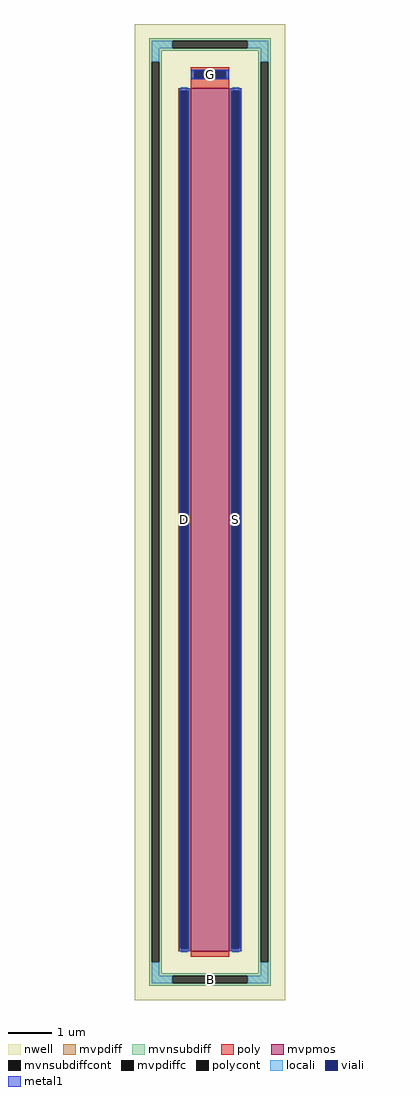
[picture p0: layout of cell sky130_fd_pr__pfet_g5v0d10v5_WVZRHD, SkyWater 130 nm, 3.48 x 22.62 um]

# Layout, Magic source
magic
tech sky130A
magscale 1 2
<< nwell >>
rect -348 -2262 348 2262
<< mvpmos >>
rect -90 -2036 90 1964
<< mvpdiff >>
rect -148 1952 -90 1964
rect -148 -2024 -136 1952
rect -102 -2024 -90 1952
rect -148 -2036 -90 -2024
rect 90 1952 148 1964
rect 90 -2024 102 1952
rect 136 -2024 148 1952
rect 90 -2036 148 -2024
<< mvpdiffc >>
rect -136 -2024 -102 1952
rect 102 -2024 136 1952
<< mvnsubdiff >>
rect -282 2184 282 2196
rect -282 2150 -174 2184
rect 174 2150 282 2184
rect -282 2138 282 2150
rect -282 2088 -224 2138
rect -282 -2088 -270 2088
rect -236 -2088 -224 2088
rect 224 2088 282 2138
rect -282 -2138 -224 -2088
rect 224 -2088 236 2088
rect 270 -2088 282 2088
rect 224 -2138 282 -2088
rect -282 -2150 282 -2138
rect -282 -2184 -174 -2150
rect 174 -2184 282 -2150
rect -282 -2196 282 -2184
<< mvnsubdiffcont >>
rect -174 2150 174 2184
rect -270 -2088 -236 2088
rect 236 -2088 270 2088
rect -174 -2184 174 -2150
<< poly >>
rect -90 2045 90 2061
rect -90 2011 -74 2045
rect 74 2011 90 2045
rect -90 1964 90 2011
rect -90 -2062 90 -2036
<< polycont >>
rect -74 2011 74 2045
<< locali >>
rect -270 2150 -174 2184
rect 174 2150 270 2184
rect -270 2088 -236 2150
rect 236 2088 270 2150
rect -90 2011 -74 2045
rect 74 2011 90 2045
rect -136 1952 -102 1968
rect -136 -2040 -102 -2024
rect 102 1952 136 1968
rect 102 -2040 136 -2024
rect -270 -2150 -236 -2088
rect 236 -2150 270 -2088
rect -270 -2184 -174 -2150
rect 174 -2184 270 -2150
<< viali >>
rect -74 2011 74 2045
rect -136 -2024 -102 1952
rect 102 -2024 136 1952
<< metal1 >>
rect -86 2045 86 2051
rect -86 2011 -74 2045
rect 74 2011 86 2045
rect -86 2005 86 2011
rect -142 1952 -96 1964
rect -142 -2024 -136 1952
rect -102 -2024 -96 1952
rect -142 -2036 -96 -2024
rect 96 1952 142 1964
rect 96 -2024 102 1952
rect 136 -2024 142 1952
rect 96 -2036 142 -2024
<< labels >>
rlabel mvnsubdiffcont 0 -2167 0 -2167 0 B
port 1 nsew
rlabel mvpdiffc -119 -36 -119 -36 0 D
port 2 nsew
rlabel mvpdiffc 119 -36 119 -36 0 S
port 3 nsew
rlabel polycont 0 2028 0 2028 0 G
port 4 nsew
<< properties >>
string FIXED_BBOX -253 -2167 253 2167
string gencell sky130_fd_pr__pfet_g5v0d10v5
string library sky130
string parameters w 20.0 l 0.9 m 1 nf 1 diffcov 100 polycov 100 guard 1 glc 1 grc 1 gtc 1 gbc 1 tbcov 100 rlcov 100 topc 1 botc 0 poverlap 0 doverlap 1 lmin 0.50 wmin 0.42 class mosfet compatible {sky130_fd_pr__pfet_01v8  sky130_fd_pr__pfet_01v8_lvt sky130_fd_pr__pfet_01v8_hvt  sky130_fd_pr__pfet_g5v0d10v5} full_metal 1 conn_gates 0 viasrc 100 viadrn 100 viagate 100 viagb 0 viagr 0 viagl 0 viagt 0 doports 1
<< end >>
